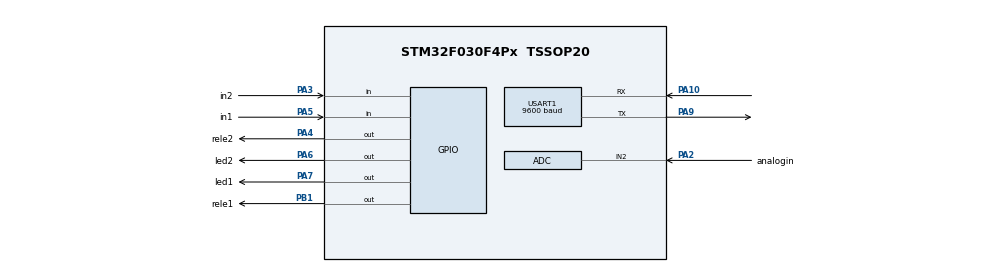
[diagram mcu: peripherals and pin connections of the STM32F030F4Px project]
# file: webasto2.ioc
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IWDG.Prescaler=IWDG_PRESCALER_64
IWDG.Reload=2500
IWDG.Window=2500
Mcu.Family=STM32F0
Mcu.Name=STM32F030F4Px
Mcu.Package=TSSOP20
NVIC.TIM14_IRQn=true\:0\:0\:false\:false\:true\:true\:true
NVIC.TIM16_IRQn=true\:0\:0\:false\:false\:true\:true\:true
PA10.Mode=Asynchronous
PA10.Signal=USART1_RX
PA13.Mode=Serial_Wire
PA13.Signal=SYS_SWDIO
PA14.Mode=Serial_Wire
PA14.Signal=SYS_SWCLK
PA2.GPIO_Label=analogin
PA2.Mode=IN2
PA2.Signal=ADC_IN2
PA3.GPIO_Label=in2
PA3.Signal=GPIO_Input
PA4.GPIO_Label=rele2
PA4.Signal=GPIO_Output
PA5.GPIO_Label=in1
PA5.Signal=GPIO_Input
PA6.GPIO_Label=led2
PA6.Signal=GPIO_Output
PA7.GPIO_Label=led1
PA7.Signal=GPIO_Output
PA9.Mode=Asynchronous
PA9.Signal=USART1_TX
PB1.GPIO_Label=rele1
PB1.Signal=GPIO_Output
ProjectManager.HeapSize=0x200
ProjectManager.StackSize=0x400
ProjectManager.TargetToolchain=SW4STM32
TIM14.Period=99
TIM14.Prescaler=7999
TIM16.Period=999
TIM16.Prescaler=7999
USART1.BaudRate=9600
USART1.VirtualMode-Asynchronous=VM_ASYNC
VP_IWDG_VS_IWDG.Mode=IWDG_Activate
VP_TIM14_VS_ClockSourceINT.Mode=Enable_Timer
VP_TIM16_VS_ClockSourceINT.Mode=Enable_Timer
board=custom

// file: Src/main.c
/* USER CODE BEGIN Header */
/**
  ******************************************************************************
  * @file           : main.c
  * @brief          : Main program body
  ******************************************************************************
  * @attention
  *
  * <h2><center>&copy; Copyright (c) 2019 STMicroelectronics.
  * All rights reserved.</center></h2>
  *
  * This software component is licensed by ST under BSD 3-Clause license,
  * the "License"; You may not use this file except in compliance with the
  * License. You may obtain a copy of the License at:
  *                        opensource.org/licenses/BSD-3-Clause
  *
  ******************************************************************************
  */
/* USER CODE END Header */

#include "main.h"

/* USER CODE BEGIN Includes */
#include "stdio.h"
#include "stdlib.h"
#include "math.h"
/* USER CODE END Includes */

/* USER CODE BEGIN PD */
#define ON  1
#define OFF 0
/* USER CODE END PD */

ADC_HandleTypeDef hadc;

IWDG_HandleTypeDef hiwdg;

TIM_HandleTypeDef htim14;
TIM_HandleTypeDef htim16;

UART_HandleTypeDef huart1;

/* USER CODE BEGIN PV */
uint32_t adcResult = 0;   //переменная для считывания реультатов измерения

/* USER CODE END PV */

void SystemClock_Config(void);
static void MX_GPIO_Init(void);
static void MX_ADC_Init(void);
static void MX_USART1_UART_Init(void);
static void MX_TIM16_Init(void);
static void MX_TIM14_Init(void);
static void MX_IWDG_Init(void);

/* USER CODE BEGIN 0 */
uint8_t Look_button(){  //функция опроса кнопки in1
	uint8_t state_button=0; //статус нажатия кнопки
	                         //0 - не нажата
	                         //1- короткое нажатие
	                        //2-длиное нажатие
	uint32_t buttonstart_count2=0;
	 if(HAL_GPIO_ReadPin(GPIOA, in1_Pin)==GPIO_PIN_SET){ //смотрим нажатие кнопки
		  		  while(HAL_GPIO_ReadPin(GPIOA, in1_Pin)==GPIO_PIN_SET){
		  			  buttonstart_count2=buttonstart_count2+1;
		  		  }
		  	  }else{
		  		  buttonstart_count2=0;
		  	  }

		  	  if((400000>buttonstart_count2)&(buttonstart_count2>50)){//смотрим действительно ли была нажата кнопка
		  		   state_button=1;  //было короткое нажатие
		  		  //flag_start=1;   //разрешаем запуск вебасто
		  		  buttonstart_count2=0;
		  	  }else{
		  		  if(buttonstart_count2>600000){
		  			// if(buttonstart_count2<800000){
		  				state_button=2;   //было длиное нажатие
		  				buttonstart_count2=0;
		  			// }
		  			  //flag_stop=1;
		  	        // flag_start=0;
		  			//  buttonstart_count2=0;
		  		  }else {
		  		  state_button=0;   //не было нажатие
		  		buttonstart_count2=0;
		  		  }
		  	  }

	return state_button;
}
 uint8_t See_ignation(){// функция просмотра состояния зажигания in2
 uint8_t Zajiganie=0;
           //Проверка включения зажигания
	  	  if(HAL_GPIO_ReadPin(GPIOA, in2_Pin)==GPIO_PIN_SET){ //смотрим включено ли зажигание
	  	 	        HAL_Delay(1);
	  	 	       HAL_GPIO_WritePin(GPIOA, led2_Pin, GPIO_PIN_SET);
	  	 	       	 		    HAL_Delay(25);
	  	 	        if(HAL_GPIO_ReadPin(GPIOA, in2_Pin)==GPIO_PIN_SET){
	  	 	        	Zajiganie=1;   //ставим флаг что зажигание включено
	  	 		     HAL_GPIO_WritePin(GPIOA, led2_Pin, GPIO_PIN_SET);
	  	 		     //HAL_Delay(1000);
	  	 	                                                     }
	  	 	}else{
	  	 		Zajiganie=0;   //иначе зажигание выключено
	  	 		 HAL_GPIO_WritePin(GPIOA, led2_Pin, GPIO_PIN_RESET);
	  	 	  }

return	Zajiganie;
}
 void Webasto(int status){    //функция активации деактивации реле номер 2 включение вебасто
	 if(status==1){
		 HAL_GPIO_WritePin(GPIOA, rele2_Pin, GPIO_PIN_SET);
	 }else{
		 HAL_GPIO_WritePin(GPIOA, rele2_Pin, GPIO_PIN_RESET);
	 }
 }
 void Rele1(int status2){    //функция активации деактивации реле номер 1
 	 if(status2==1){
 		 HAL_GPIO_WritePin(GPIOB, rele1_Pin, GPIO_PIN_SET);
 	 }else{
 		 HAL_GPIO_WritePin(GPIOB, rele1_Pin, GPIO_PIN_RESET);
 	 }
  }
 void Blink(){
		  		  HAL_GPIO_TogglePin(GPIOA, led1_Pin);
 }
/* USER CODE END 0 */

int main(void)
{
  /* USER CODE BEGIN 1 */
   // uint16_t timereboot=86400;
	uint8_t short_actionflag=0;         ///флаг что вебасто запсущена по короткой версии 25 мин
	uint8_t long_actionflag=0;  //флаг длинного запуска webasto 0-включаем на 25мин 1 -включаем до выключения зажигания
	uint8_t statusZajiganiya=0;  //0- зажигание выключено 1- зажигание включено
	uint8_t statuspressbutton=0;  //0 кнопка не нажата 1- короткое нажатие 2  длиное нажатие
	uint32_t buttonstart_count; //переменная для счеткчика ложного срабатывания нажатия кнопки
    uint8_t flag_start=0;  //флаг разрешения запуска
    uint16_t time_progrev=1500;  // время прогрева вебасто 1500 сек
    //uint16_t time_progrev=600;  // время прогрева вебасто 1500 сек
    uint16_t time_posle_raboty=1200; //время работы светодиода после завершения прогрева
    uint8_t action=0; //флаг работает система сейчас или нет 0- нет 1- да
    uint32_t old_time_counter=0;  //счетчик для моргания светодиодом
    uint8_t good=0;   // флаг успешной отработки вебасто 0-система только зашла 1- успешно отработала 2- хреново отработала
    uint8_t flag_stop=0;   // флаг принудительной остановки  0- не отсанавливать  1- останавить вебасто
    uint8_t led_ok_set=0; // флаг включения светодиода если все отработало ок
    uint16_t buttonIgnition_count=0;
    uint8_t ig_Off=0,ig_On=0;  // флаг включения зажигания

   // uint8_t str[]="USART Transmit\r\n";// далее переменные для ADC
    uint8_t mistr[6];
    uint8_t ubseti[8];
    uint8_t uvoltage[6];
    //uint8_t uvoltage[6],blabla[6];
    //uint8_t uvoltage[6],ubseti[8];
    //uint8_t usdecimal[8];
    uint8_t miadc[4];
    //uint8_t ch=1234;
    float Upit=3.26,UR2,I2;
    volatile  float Utek;
    double U4,U3,I1;
    float Ubortseti;
    float U,x;
    uint16_t MiConstRazr=3850,R1=15000,R2=4300;
    //  uint16_t MiConstRazr=3940,R1=16610,R2=4690;
    uint8_t  Mimassiv[4];
    char *p;

    volatile uint16_t Ubsint;
     uint16_t i,U2,y;
     uint8_t sel_akb=0;//  флаг сел акб   0 - не сел 1 сел
     uint8_t dvigatel_zapushen=0;   //флаг запущенного двигателя  0-не заведен 1 -заведен
     uint8_t dvigstopweb=0;   //флаг для того чтобы вебасто глушилась один раз во время работы двигателя
     uint8_t alarm_akbstopweb=0;  //флаг остановки вебасто по требованию севшего аккумулятора 0-не надо глушить 1- заглушить к ебеням
  /* USER CODE END 1 */

  /* MCU Configuration--------------------------------------------------------*/

  /* Reset of all peripherals, Initializes the Flash interface and the Systick. */
  HAL_Init();

  /* Configure the system clock */
  SystemClock_Config();

  /* Initialize all configured peripherals */
  MX_GPIO_Init();
  MX_ADC_Init();
  MX_USART1_UART_Init();
  MX_TIM16_Init();
  MX_TIM14_Init();
  MX_IWDG_Init();
  /* USER CODE BEGIN 2 */
  //HAL_TIM_Base_Start(&htim16);
  //HAL_TIM_Base_Start_IT(&htim16);
  tim16_counter=0;            // инициализируем счетчик времени
  tim14_counter=0;            // инициализируем счетчик времени для IWDG
  HAL_TIM_Base_Start(&htim14);    //запускаем таймер 14
  HAL_TIM_Base_Start_IT(&htim14);  //запускаем прерывания тайм 14
  /* USER CODE END 2 */

  /* Infinite loop */
  /* USER CODE BEGIN WHILE */
  while (1)
  {
	  /////////////////////////////////////////////////
	  //Вторая генерация //
	  //Добавлен WDT для сброса
	  //Изменена концепция алгоритма работы
	  //в частности добавлена функция включения Webasto при включеном зажигании
	  //Алгоритм//
	  //Нажимаем кнопку in1    короткое нажатие старт длиное нажатие стоп
	        //смотрим включено ли зажигание ig_On==1
	       //если вклчено то запускаем вебасто до момента выключения зажигания ig_On==0
	       //если выключено то запускаем на 25минут
	             //активируем выход rele2_Pin -вклчаем реле веасто
	             //считаем 25минут
	            //моргаем зеленым светодиодом
	            //по прошестивии 25 мин отклчаем реле
	            //вклчаем еленый светодиод на 20мин -все отработало штатно все ок
	            //следим за напряжением
	                     //если напряжение просело до 10в то акб сел
	                           //аварийное отключение Webasto
	                           //моргаем красным светодиодом 30 мин или до вкл зажигания

	  /////////////////////////////////////////////
	  //Первая генерация проекта//
	  //нажимаем кнокпу   in1  подаем 12вольт
	  	    //запускаем вебасто и помпу включаем реле2
	  	    //считаем 25 минут   моргает зеленый светодиод
	  	    //выключаем реле2  если все штатно отработало  то зеленый горит постоянно 20мин или  до включения зажигания
	  	    //во время работы меряем напряжение
	  	    //если напряжение превысило 12,9 вольта то произошел запуск  выкл реле2
	  	    //если напряжение упало ниже 10в выключаем вебасту - сел аккум моргает красный светодиод 30 мин или до вкл зажигания
	  	    //зажигание на вход in2
	  	    //сбрасываем все флаги
	  	    //переходим в П.1
//////////////////Вторая генерация проекта/////////////////////////
	  //сброс сторожевого таймера
	  if(tim14_counter>20){
		  tim14_counter=0;
		  HAL_IWDG_Refresh(&hiwdg);
	  }

	  //Основная программа
	  statuspressbutton=Look_button();//спрашиваем чего творится на кнопке запуска
      statusZajiganiya=See_ignation();//спрашиваем включено ли зажигание
          if(statuspressbutton==0){  //если кнопка не была нажата
        	  flag_start=0;
        	  statuspressbutton=0;
          }else if(statuspressbutton==1){  //если кнопку коротко нажали
        	  flag_start=1;
        	  statuspressbutton=0;
          }else if(statuspressbutton==2){  //если кнопку длинное нажали

        	  statuspressbutton=0;
			  flag_stop=1;
          }

          if(statusZajiganiya==1){
                  // long_actionflag=1;  //так как включено зажигание то запускаем Webasto по долгому

          //если пришел флаг на запуск и до этого она не была -заводим вебасто
          	  	  if((flag_start==1)&(action==0)){
          	  		  flag_start=0;
          	  		  Webasto(ON);  //включаем  реле вебасто
                      HAL_TIM_Base_Start(&htim16);    //запускаем таймер
          	  		  HAL_TIM_Base_Start_IT(&htim16);  //запускаем прерывания
          	  		  action=1;  // система завелась
          	  		  flag_start=0;// запуск больше не требуется
          	  		  long_actionflag=1;  //так как включено зажигание то запускаем Webasto по долгому

          	  	  }
          	  	  //моргаем светиком пока работаем прошла секунда моргаем
          	  	  if((old_time_counter<tim16_counter)&(action==1)){
          	  		  Blink();
          	  	      old_time_counter=tim16_counter;
          	  	  }

                 if(action==1){//елси вебасто запущена
                	 if(flag_stop==1){  //пришел запрос на остановку webasto
                		 action=0;  // система заглушена
						  long_actionflag=0; //флаг длинного запуска деактивирован
						  Webasto(OFF);  //глушим  реле вебасто
						  HAL_GPIO_WritePin(GPIOA, led1_Pin,RESET);  //отключаем светодиод
						  flag_stop=0;  //сбрасываем флаг принудительной оттановки
						  HAL_TIM_Base_Stop(&htim16);    //выключаем таймер
						  HAL_TIM_Base_Stop_IT(&htim16);  //выключаем прерывания
                     }
                 }
        	//от if statusZajiganiya
          }else if(long_actionflag==1){  //если вебасто была запущена в режиме вклченого зажигания
        	                              //и зажигание выключено
        	  action=0;  // система заглушена
        	  long_actionflag=0; //флаг длинного запуска деактивирован
        	  Webasto(OFF);  //глушим  реле вебасто
        	  HAL_GPIO_WritePin(GPIOA, led1_Pin,RESET);  //отключаем светодиод
        	  HAL_TIM_Base_Stop(&htim16);    //выключаем таймер
        	  HAL_TIM_Base_Stop_IT(&htim16);  //выключаем прерывания
          }else if((flag_start==1)&(action==0)){ //зажигание выключено и пришло распрояжение на запуск
					  flag_start=0;       //скидываем разрешение на запуск
					  Webasto(ON);  //включаем  реле вебасто
					  HAL_TIM_Base_Start(&htim16);    //запускаем таймер
					  HAL_TIM_Base_Start_IT(&htim16);  //запускаем прерывания
					  action=1;  // система завелась
					  flag_start=0;// запуск больше не требуется
					  HAL_TIM_Base_Start(&htim16);    //запускаем таймер
					  HAL_TIM_Base_Start_IT(&htim16);  //запускаем прерывания
					  short_actionflag=1;   //флаг что webasto запущена по короткому
          }

          //моргаем светиком пока работаем прошла секунда моргаем
                   	  	if(short_actionflag==1){
                       if((old_time_counter<tim16_counter)&(action==1)){
                   	  		  Blink();
                   	  	      old_time_counter=tim16_counter;
                   	  	  }
                       //если прошло 25мин то все выключаем
                       	  	  if((tim16_counter>time_progrev)&((action==1))){
                       	  		           short_actionflag=0;
                                           Webasto(OFF);
                       	  		           action=0;  // система потухла
                       	  		  		   tim16_counter=0;   //сбрасываем счетчики
                       	  		  		   old_time_counter=0;  //сбрасываем счетчики
                       	  		  		   good=1;  //флаг успешного завершения прогрева
                       	  		  		   flag_start=0;
                       	  		  	       HAL_GPIO_WritePin(GPIOA, led1_Pin,RESET);  //отключаем светодиод
                       	  	  }
						//если была принудительная остановка то
						  if(flag_stop==1){
          	  		           short_actionflag=0;
							   Webasto(OFF);
							   HAL_GPIO_WritePin(GPIOA, led2_Pin, GPIO_PIN_SET);
							   HAL_Delay(2000);
							   HAL_GPIO_WritePin(GPIOA, led2_Pin, GPIO_PIN_RESET);
							   HAL_GPIO_WritePin(GPIOA, led1_Pin, GPIO_PIN_RESET);
							   tim16_counter=0;
							   action=0;  // система потухла
							   old_time_counter=0;  //сбрасываем счетчики
							   good=0;  //флаг успешного завершения прогрева
							   flag_start=0;
							   flag_stop=0;
							   HAL_TIM_Base_Stop(&htim16);    //выключаем таймер
							   HAL_TIM_Base_Stop_IT(&htim16);  //выключаем прерывания
						  }

                   	  	}/////от if short_actionflag////
             //включаем зеленый светодиод на 20 мин типа все отрабоатло ок
			  if((good==1)&(action==0)&(flag_stop==0)){
					 if((tim16_counter<time_posle_raboty)&(led_ok_set==0)){
					      HAL_GPIO_WritePin(GPIOA, led1_Pin, GPIO_PIN_SET);
					      led_ok_set=1;
					      tim16_counter=0;//скиываемдля светоиода
						 }
				 //если зажигание включили то выключаем светодиод
				 //if(ig_On==1){
				 //	 tim16_counter=time_posle_raboty+1;
				 //}
				    if(tim16_counter>time_posle_raboty){
					   HAL_GPIO_WritePin(GPIOA, led1_Pin, GPIO_PIN_RESET);
				       good=0;
				       tim16_counter=0;
				       HAL_TIM_Base_Stop(&htim16);    //выключаем таймер
				       HAL_TIM_Base_Stop_IT(&htim16);  //выключаем прерывания
					   flag_start=0;
					   led_ok_set=0;           //сбрасываем флаг включения светодиода
				    }
				  }//от включения светодиода на 20мин
         //////////////////////////////////
			 if(short_actionflag==1){
			  //здесь меряем напряжение
			  	  	  HAL_ADC_Start(&hadc);      //запускаем измерения аналогового входа
			  	        HAL_ADC_PollForConversion(&hadc, 100);    //дожидаемся окончания имерения
			  	        adcResult = HAL_ADC_GetValue(&hadc);     //забираем реультат
			  	        HAL_ADC_Stop(&hadc);          //останавливаем измерения

			  	        Utek=adcResult*Upit/MiConstRazr; //вычисляем сколько вольт
			  	        U=Utek*100;        //получаем первые трицифры чтоы округлить
			  	        U3=(double)U;      //меняем тип начения для функции floor
			  	        U4=floor(U3+0.5);    //floor округление до целого но оно еще double
			  	        U2=(int)U4;           // меняем тип double на  int для дальнейшей раоты с массивом

			  	   //Далее вычисляем напряжение на входе в схему до делителя
			      //2///////////////////////////////////////////////////////////////////////////////
			  	         UR2=Utek;      //меняем тип данных
			  	         I2=UR2/R2;             //считаем ток через резистор R2 -4700
			  	         Ubortseti=I2*(R1+R2);  //ВЫчисляем входное напряжение
						 Ubortseti=Ubortseti*100;// получаем первые четыре цифры напряжения борт сети
						 Ubortseti=floor(Ubortseti+0.5); //округляем
						 x=Ubortseti;
						 Ubsint=(int)Ubortseti;
			     /////////////////////////конец замера напряжения
			  	          //Имеем переменную Ubsint  1236   напряжение в int
			  	          //если Ubsint  больше  1290  то двигатель запущен
			  	          //если Ubsint  меньше 1000   то сел акб
			  	          //здесь рассматриваем севший аккумулятор
			  	  //3///////////////////////////////////////////////////////////////////////////////
			             if(Ubsint<1000){
			  	      	   sel_akb=1;
			  	         }else{
			  	      	   sel_akb=0;
			  	      	   alarm_akbstopweb=0;   //скидываем флаг аварийного стопа вебасто по севшему акб
			  	         }
			  	              if((sel_akb==1)&(alarm_akbstopweb==0)){    //если сел акб и вебасто работает и еще не глушилась то тушим ее
			  	              	if(action==1){
			  	              		flag_stop=1;
			  	              		alarm_akbstopweb=1;
			  	              	}
			  	              }

			  	            ///здесь рассматриваем ситуацию выключения вебасто при запуске двс
			  	         if(Ubsint>1290){

			  	      	   dvigatel_zapushen=1;
			  	         }
			  	         else{
			  	      	   dvigatel_zapushen=0;
			  	      	   dvigstopweb=0;          //когда двигатель будет заглушен то можно глушить вебасто
			  	         }

			  	         if((dvigatel_zapushen==1)&(dvigstopweb==0)){ //если двигатель запущен и вебасто  еще не глушилась то глушим вебасто
			  	      	  if(action==1){
			  	      		//HAL_TIM_Base_Stop(&htim16);    //выключаем таймер
						    //HAL_TIM_Base_Stop_IT(&htim16);  //выключаем прерывания
						    flag_start=0;
						    tim16_counter=0;
        	  		  	    HAL_GPIO_WritePin(GPIOA, led1_Pin,RESET);  //отключаем светодиод
        	  		  	    short_actionflag=0;   //переводим из короткой работый вебасто в длиную
        	  		  	   // Rele1(ON);
        	  		  	    long_actionflag=1;
        	  		  	    dvigatel_zapushen=0;

			  	      	             }
			  	         }

			 }//от short action flag

			  //////конец вставки напряжения измерения
////////////////конец Второй генерациии проекта///////////////////////////
	  ////////////////////////////////////////первая генерация проекта////////////
          //1//////////////////////////////////////////////////////////////
          /*

	  if(HAL_GPIO_ReadPin(GPIOA, in1_Pin)==GPIO_PIN_SET){ //смотрим нажатие кнопки
	  		  while(HAL_GPIO_ReadPin(GPIOA, in1_Pin)==GPIO_PIN_SET){
	  			  buttonstart_count=buttonstart_count+1;
	  		  }
	  	  }else{
	  		  buttonstart_count=0;
	  	  }

	  	  if((200000>buttonstart_count)&(buttonstart_count>3000)){  //смотрим действительно ли была нажата кнопка

	  		  flag_start=1;   //разрешаем запуск вебасто

	  		  buttonstart_count=0;

	  	  }else{
	  		  if(buttonstart_count>200000){
	  			  flag_stop=1;
	  	          flag_start=0;
	  			  buttonstart_count=0;
	  		  }
	  	  }

	  	  //если пришел флаг на запуск -заводим вебасто
	  	  if((flag_start==1)&(action==0)){
	  		  flag_start=0;
	  		  HAL_GPIO_WritePin(GPIOA, rele2_Pin, GPIO_PIN_SET);  //включаем помпу и вебасту
	  		//  HAL_GPIO_WritePin(GPIOA, rele2_Pin, GPIO_PIN_SET);/
	  		  HAL_TIM_Base_Start(&htim16);    //запускаем таймер
	  		  HAL_TIM_Base_Start_IT(&htim16);  //запускаем прерывания
	  		  action=1;  // система завелась
	  		  flag_start=0;// запуск больше не требуется
	  	  }
	  	  //моргаем светиком пока работаем прошла секунда моргаем

	  	  if((old_time_counter<tim16_counter)&(action==1)){
	  		  HAL_GPIO_TogglePin(GPIOA, led1_Pin);
	  	      old_time_counter=tim16_counter;
	  	  }

	  	  //если прошло 25мин то все выключаем
	  	  if((tim16_counter>time_progrev)&((action==1))){

	  		          HAL_GPIO_WritePin(GPIOA, rele2_Pin, GPIO_PIN_RESET);  //включаем помпу и вебасту
	  		  		 action=0;  // система потухла
	  		  		tim16_counter=0;   //сбрасываем счетчики
	  		  		old_time_counter=0;  //сбрасываем счетчики
	  		  		good=1;  //флаг успешного завершения прогрева
	  		  		flag_start=0;
	  	  }
	  	  //если была принудительная остановка то
	  	  if(flag_stop==1){

	  		  HAL_GPIO_WritePin(GPIOA, rele2_Pin, GPIO_PIN_RESET);  //выключаем помпу и вебасту

	  		  			   HAL_GPIO_WritePin(GPIOA, led2_Pin, GPIO_PIN_SET);
	  		  			   HAL_Delay(2000);

	  		  HAL_GPIO_WritePin(GPIOA, led2_Pin, GPIO_PIN_RESET);
	  		  HAL_GPIO_WritePin(GPIOA, led1_Pin, GPIO_PIN_RESET);

	  		  tim16_counter=0;
	  		  action=0;  // система потухла
	  		  old_time_counter=0;  //сбрасываем счетчики
	  		   good=0;  //флаг успешного завершения прогрева

	  		   flag_start=0;
	  		   flag_stop=0;
	  		   HAL_TIM_Base_Stop(&htim16);    //выключаем таймер
	  		   HAL_TIM_Base_Stop_IT(&htim16);  //выключаем прерывания
	  		   buttonstart_count=0;
	  	 	  }
	  	  //включаем зеленый светодиод на 20 мин типа все отрабоатло ок
	  	  if((good==1)&(action==0)&(flag_stop==0)){

	  		//  HAL_GPIO_WritePin(GPIOA, led2_Pin, GPIO_PIN_SET);

	  		 if((tim16_counter<time_posle_raboty)&(led_ok_set==0)){
	  		  HAL_GPIO_WritePin(GPIOA, led1_Pin, GPIO_PIN_SET);
	  		 // HAL_Delay(3000);
	  		  led_ok_set=1;
	  	             }
	  		 //если зажигание включили то выключаем светодиод
	  		 if(ig_On==1){
	  			 tim16_counter=time_posle_raboty+1;
	  		 }
	  		  if(tim16_counter>time_posle_raboty){
	  			 // HAL_GPIO_WritePin(GPIOA, led2_Pin, GPIO_PIN_SET);
	  		  HAL_GPIO_WritePin(GPIOA, led1_Pin, GPIO_PIN_RESET);
	  		  good=0;
	  		  tim16_counter=0;
	  		   HAL_TIM_Base_Stop(&htim16);    //выключаем таймер
	  		   HAL_TIM_Base_Stop_IT(&htim16);  //выключаем прерывания
	            flag_start=0;
	            buttonstart_count=0;
	            led_ok_set=0;           //сбрасываем флаг включения светодиода
	  		  }
	  		  }//от включения светодиода на 25мин
	        //Проверка включения зажигания
	  	  if(HAL_GPIO_ReadPin(GPIOA, in2_Pin)==GPIO_PIN_SET){ //смотрим включено ли зажигание
	  	 	        HAL_Delay(1);
	  	 	       HAL_GPIO_WritePin(GPIOA, led2_Pin, GPIO_PIN_SET);
	  	 	       	 		//     HAL_Delay(1000);
	  	 	        if(HAL_GPIO_ReadPin(GPIOA, in2_Pin)==GPIO_PIN_SET){
	  	 		     ig_On=1;   //ставим флаг что зажигание включено
	  	 		     HAL_GPIO_WritePin(GPIOA, led2_Pin, GPIO_PIN_SET);
	  	 		     //HAL_Delay(1000);
	  	 	                                                     }
	  	 	}else{
	  	 		  ig_On=0;   //иначе зажигание выключено
	  	 		 HAL_GPIO_WritePin(GPIOA, led2_Pin, GPIO_PIN_RESET);
	  	 	  }
	        //конец анализа включения зажигания
	  ////////////////////////////////////////////////////////////////////////
	  	  //здесь меряем напряжение
	  	  HAL_ADC_Start(&hadc);      //запускаем измерения аналогового входа
	        HAL_ADC_PollForConversion(&hadc, 100);    //дожидаемся окончания имерения
	        adcResult = HAL_ADC_GetValue(&hadc);     //забираем реультат
	        HAL_ADC_Stop(&hadc);          //останавливаем измерения

	        Utek=adcResult*Upit/MiConstRazr; //вычисляем сколько вольт
	        U=Utek*100;        //получаем первые трицифры чтоы округлить
	        U3=(double)U;      //меняем тип начения для функции floor
	        U4=floor(U3+0.5);    //floor округление до целого но оно еще double
	        U2=(int)U4;           // меняем тип double на  int для дальнейшей раоты с массивом
	        //расклаываем четырех значное число  полученое и ADC по клеточка массива
	              /*     if(adcResult>999){
	        	                    miadc[0]=(adcResult%10000-adcResult%1000)/1000;
	        	                	miadc[1]=(adcResult%1000-adcResult%100)/100;
	        	                	miadc[2]=(adcResult%100-adcResult%10)/10;
	        	      	            miadc[3]=adcResult%10;

	                             }else if(adcResult>99) {
	                           	 miadc[0]=0;
	                          	 miadc[1]=(adcResult%1000-adcResult%100-adcResult%10)/100;
	                	             miadc[2]=(adcResult%100-adcResult%10)/10;
	                	             miadc[3]=adcResult%10;
	                            }else if(adcResult>9){
	                	             miadc[0]=0;
	                	             miadc[1]=0;
	                	             miadc[2]=(adcResult%100-adcResult%10)/10;
	                	             miadc[3]=adcResult%10;
	                             }else {
	                	             miadc[0]=0;
	                	             miadc[1]=0;
	                	             miadc[2]=0;
	                	             miadc[3]=adcResult%10;
	                                   }
	                   // сливаем все значения массива miadc (uint) в mistr (string)
	                             sprintf(mistr,"%d%d%d%d\r\n", miadc[0],miadc[1],miadc[2],miadc[3]);
	                             //отправляем массив mistr в порт
	                            HAL_UART_Transmit(&huart1,mistr,6,0xFFFF);
	                              	  HAL_Delay(200);
	                	  //Склеиваем массив Mimassiv типа string из цифрового массива Mimassiv
	                                  Mimassiv[0]=(U2%1000-U2%100)/100;
	                                  Mimassiv[1]=(U2%100-U2%10)/10;
	                                  Mimassiv[2]=U2%10;
	                            sprintf(uvoltage,"%d%c%d%d\r\n", Mimassiv[0],'.',Mimassiv[1],Mimassiv[2]);
	                   //отправляем значение напряжения на алоговом входе в порт
	                             HAL_UART_Transmit(&huart1,uvoltage,6,0xFFFF);
	                              HAL_Delay(200);
	                                     */
	   //Далее вычисляем напряжение на входе в схему до делителя
    //2///////////////////////////////////////////////////////////////////////////////
	/*        UR2=Utek;      //меняем тип данных
	        I2=UR2/R2;             //считаем ток через резистор R2 -4700
	       Ubortseti=I2*(R1+R2);  //ВЫчисляем входное напряжение
	       // далее таже эпопея по переводу в массив для отправки в порт

	                     Ubortseti=Ubortseti*100;// получаем первые четыре цифры напряжения борт сети
	                     Ubortseti=floor(Ubortseti+0.5); //округляем
	                     x=Ubortseti;
	                     Ubsint=(int)Ubortseti;
	             //далеее расчленем для массива типа инт
	                /*        if(Ubsint>999){
	                        usdecimal[0]=(Ubsint%10000-Ubsint%1000)/1000;
	                        usdecimal[1]=(Ubsint%1000-Ubsint%100)/100;
	                        usdecimal[2]=(Ubsint%100-Ubsint%10)/10;
	                        usdecimal[3]=Ubsint%10;
	                        }else if(Ubsint>99){
	                     	   usdecimal[0]=0;
	                     	   usdecimal[1]=(Ubsint%1000-Ubsint%100)/100;
	                     	   usdecimal[2]=(Ubsint%100-Ubsint%10)/10;
	                     	   usdecimal[3]=Ubsint%10;
	                        }else if(Ubsint>9){
	                     	   usdecimal[0]=0;
	                     	   usdecimal[1]=0;
	                     	   usdecimal[2]=(Ubsint%100-Ubsint%10)/10;
	                     	   usdecimal[3]=Ubsint%10;
	                        }else {
	                     	   usdecimal[0]=0;
	                     	   usdecimal[1]=0;
	                     	   usdecimal[2]=0;
	                     	   usdecimal[3]=Ubsint%10;
	                        }     */
	              /*         if(Ubsint>999){
	                      	 miadc[0]=(Ubsint%10000-Ubsint%1000)/1000;
	                      	 miadc[1]=(Ubsint%1000-Ubsint%100)/100;
	                      	 miadc[2]=(Ubsint%100-Ubsint%10)/10;
	                      	 miadc[3]=Ubsint%10;
	                       }             */
	                       //склеиваем массив строку
	                   //отправляем входное напряжение в USART
	                       // sprintf(ubseti,"%c\r\n",usdecimal[0]);
	               /*        sprintf(ubseti,"%d%d%d%d\r\n", miadc[0],miadc[1],miadc[2],miadc[3]);
	                     if(Ubsint>999) {
	                       HAL_UART_Transmit(&huart1,ubseti,7,0xFFFF);
	                       HAL_Delay(200);
	                     }          */
	        /////////////////////////конец замера напряжения
	              //Имеем переменную Ubsint  1236   напряжение в int
	          //если Ubsint  больше  1290  то двигатель запущен
	          //если Ubsint  меньше 1000   то сел акб
	         //здесь рассматриваем севший аккумулятор
	  //3///////////////////////////////////////////////////////////////////////////////
        /*  if(Ubsint<1000){
	      	   sel_akb=1;
	         }else{
	      	   sel_akb=0;
	      	   alarm_akbstopweb=0;   //скидываем флаг аварийного стопа вебасто по севшему акб
	         }
	              if((sel_akb==1)&(alarm_akbstopweb==0)){    //если сел акб и вебасто работает и еще не глушилась то тушим ее
	              	if(action==1){
	              		flag_stop=1;
	              		alarm_akbstopweb=1;
	              	}
	              }

	            ///здесь рассматриваем ситуацию выключения вебасто при запуске двс
	         if(Ubsint>1290){
	      	   dvigatel_zapushen=1;
	         }
	         else{
	      	   dvigatel_zapushen=0;
	      	   dvigstopweb=0;          //когда двигатель будет заглушен то можно глушить вебасто
	         }

	         if((dvigatel_zapushen==1)&(dvigstopweb==0)){ //если двигатель запущен и вебасто  еще не глушилась то глушим вебасто
	      	  if(action==1){
	      		  flag_stop=1;
	      	   dvigstopweb=1;      //вебасто потушена и нех ее больше тыркать
	      	              }
	      	                                         }
	         */
////////////////////////////////////////////////////////////////////////////////////////////////////

	         ////////конец первой генерации///////////
	         //////////////////////////////////////////////
    /* USER CODE END WHILE */

  }
}

void SystemClock_Config(void)
{
  RCC_OscInitTypeDef RCC_OscInitStruct = {0};
  RCC_ClkInitTypeDef RCC_ClkInitStruct = {0};
  RCC_PeriphCLKInitTypeDef PeriphClkInit = {0};

  /** Initializes the CPU, AHB and APB busses clocks
  */
  RCC_OscInitStruct.OscillatorType = RCC_OSCILLATORTYPE_HSI|RCC_OSCILLATORTYPE_HSI14
                              |RCC_OSCILLATORTYPE_LSI;
  RCC_OscInitStruct.HSIState = RCC_HSI_ON;
  RCC_OscInitStruct.HSI14State = RCC_HSI14_ON;
  RCC_OscInitStruct.HSICalibrationValue = RCC_HSICALIBRATION_DEFAULT;
  RCC_OscInitStruct.HSI14CalibrationValue = 16;
  RCC_OscInitStruct.LSIState = RCC_LSI_ON;
  RCC_OscInitStruct.PLL.PLLState = RCC_PLL_NONE;
  if (HAL_RCC_OscConfig(&RCC_OscInitStruct) != HAL_OK)
  {
    Error_Handler();
  }
  /** Initializes the CPU, AHB and APB busses clocks
  */
  RCC_ClkInitStruct.ClockType = RCC_CLOCKTYPE_HCLK|RCC_CLOCKTYPE_SYSCLK
                              |RCC_CLOCKTYPE_PCLK1;
  RCC_ClkInitStruct.SYSCLKSource = RCC_SYSCLKSOURCE_HSI;
  RCC_ClkInitStruct.AHBCLKDivider = RCC_SYSCLK_DIV1;
  RCC_ClkInitStruct.APB1CLKDivider = RCC_HCLK_DIV1;

  if (HAL_RCC_ClockConfig(&RCC_ClkInitStruct, FLASH_LATENCY_0) != HAL_OK)
  {
    Error_Handler();
  }
  PeriphClkInit.PeriphClockSelection = RCC_PERIPHCLK_USART1;
  PeriphClkInit.Usart1ClockSelection = RCC_USART1CLKSOURCE_PCLK1;
  if (HAL_RCCEx_PeriphCLKConfig(&PeriphClkInit) != HAL_OK)
  {
    Error_Handler();
  }
}

static void MX_ADC_Init(void)
{

  ADC_ChannelConfTypeDef sConfig = {0};

  /** Configure the global features of the ADC (Clock, Resolution, Data Alignment and number of conversion)
  */
  hadc.Instance = ADC1;
  hadc.Init.ClockPrescaler = ADC_CLOCK_ASYNC_DIV1;
  hadc.Init.Resolution = ADC_RESOLUTION_12B;
  hadc.Init.DataAlign = ADC_DATAALIGN_RIGHT;
  hadc.Init.ScanConvMode = ADC_SCAN_DIRECTION_FORWARD;
  hadc.Init.EOCSelection = ADC_EOC_SINGLE_CONV;
  hadc.Init.LowPowerAutoWait = DISABLE;
  hadc.Init.LowPowerAutoPowerOff = DISABLE;
  hadc.Init.ContinuousConvMode = DISABLE;
  hadc.Init.DiscontinuousConvMode = DISABLE;
  hadc.Init.ExternalTrigConv = ADC_SOFTWARE_START;
  hadc.Init.ExternalTrigConvEdge = ADC_EXTERNALTRIGCONVEDGE_NONE;
  hadc.Init.DMAContinuousRequests = DISABLE;
  hadc.Init.Overrun = ADC_OVR_DATA_PRESERVED;
  if (HAL_ADC_Init(&hadc) != HAL_OK)
  {
    Error_Handler();
  }
  /** Configure for the selected ADC regular channel to be converted.
  */
  sConfig.Channel = ADC_CHANNEL_2;
  sConfig.Rank = ADC_RANK_CHANNEL_NUMBER;
  sConfig.SamplingTime = ADC_SAMPLETIME_1CYCLE_5;
  if (HAL_ADC_ConfigChannel(&hadc, &sConfig) != HAL_OK)
  {
    Error_Handler();
  }

}

static void MX_IWDG_Init(void)
{

  hiwdg.Instance = IWDG;
  hiwdg.Init.Prescaler = IWDG_PRESCALER_64;
  hiwdg.Init.Window = 2500;
  hiwdg.Init.Reload = 2500;
  if (HAL_IWDG_Init(&hiwdg) != HAL_OK)
  {
    Error_Handler();
  }

}

static void MX_TIM14_Init(void)
{

  htim14.Instance = TIM14;
  htim14.Init.Prescaler = 7999;
  htim14.Init.CounterMode = TIM_COUNTERMODE_UP;
  htim14.Init.Period = 99;
  htim14.Init.ClockDivision = TIM_CLOCKDIVISION_DIV1;
  htim14.Init.AutoReloadPreload = TIM_AUTORELOAD_PRELOAD_DISABLE;
  if (HAL_TIM_Base_Init(&htim14) != HAL_OK)
  {
    Error_Handler();
  }

}

static void MX_TIM16_Init(void)
{

  htim16.Instance = TIM16;
  htim16.Init.Prescaler = 7999;
  htim16.Init.CounterMode = TIM_COUNTERMODE_UP;
  htim16.Init.Period = 999;
  htim16.Init.ClockDivision = TIM_CLOCKDIVISION_DIV1;
  htim16.Init.RepetitionCounter = 0;
  htim16.Init.AutoReloadPreload = TIM_AUTORELOAD_PRELOAD_DISABLE;
  if (HAL_TIM_Base_Init(&htim16) != HAL_OK)
  {
    Error_Handler();
  }

}

static void MX_USART1_UART_Init(void)
{

  huart1.Instance = USART1;
  huart1.Init.BaudRate = 9600;
  huart1.Init.WordLength = UART_WORDLENGTH_8B;
  huart1.Init.StopBits = UART_STOPBITS_1;
  huart1.Init.Parity = UART_PARITY_NONE;
  huart1.Init.Mode = UART_MODE_TX_RX;
  huart1.Init.HwFlowCtl = UART_HWCONTROL_NONE;
  huart1.Init.OverSampling = UART_OVERSAMPLING_16;
  huart1.Init.OneBitSampling = UART_ONE_BIT_SAMPLE_DISABLE;
  huart1.AdvancedInit.AdvFeatureInit = UART_ADVFEATURE_NO_INIT;
  if (HAL_UART_Init(&huart1) != HAL_OK)
  {
    Error_Handler();
  }

}

static void MX_GPIO_Init(void)
{
  GPIO_InitTypeDef GPIO_InitStruct = {0};

  /* GPIO Ports Clock Enable */
  __HAL_RCC_GPIOA_CLK_ENABLE();
  __HAL_RCC_GPIOB_CLK_ENABLE();

  /*Configure GPIO pin Output Level */
  HAL_GPIO_WritePin(GPIOA, rele2_Pin|led2_Pin|led1_Pin, GPIO_PIN_RESET);

  /*Configure GPIO pin Output Level */
  HAL_GPIO_WritePin(rele1_GPIO_Port, rele1_Pin, GPIO_PIN_RESET);

  /*Configure GPIO pins : in2_Pin in1_Pin */
  GPIO_InitStruct.Pin = in2_Pin|in1_Pin;
  GPIO_InitStruct.Mode = GPIO_MODE_INPUT;
  GPIO_InitStruct.Pull = GPIO_NOPULL;
  HAL_GPIO_Init(GPIOA, &GPIO_InitStruct);

  /*Configure GPIO pins : rele2_Pin led2_Pin led1_Pin */
  GPIO_InitStruct.Pin = rele2_Pin|led2_Pin|led1_Pin;
  GPIO_InitStruct.Mode = GPIO_MODE_OUTPUT_PP;
  GPIO_InitStruct.Pull = GPIO_NOPULL;
  GPIO_InitStruct.Speed = GPIO_SPEED_FREQ_LOW;
  HAL_GPIO_Init(GPIOA, &GPIO_InitStruct);

  /*Configure GPIO pin : rele1_Pin */
  GPIO_InitStruct.Pin = rele1_Pin;
  GPIO_InitStruct.Mode = GPIO_MODE_OUTPUT_PP;
  GPIO_InitStruct.Pull = GPIO_NOPULL;
  GPIO_InitStruct.Speed = GPIO_SPEED_FREQ_LOW;
  HAL_GPIO_Init(rele1_GPIO_Port, &GPIO_InitStruct);

}

void Error_Handler(void)
{
}

/************************ (C) COPYRIGHT STMicroelectronics *****END OF FILE****/
